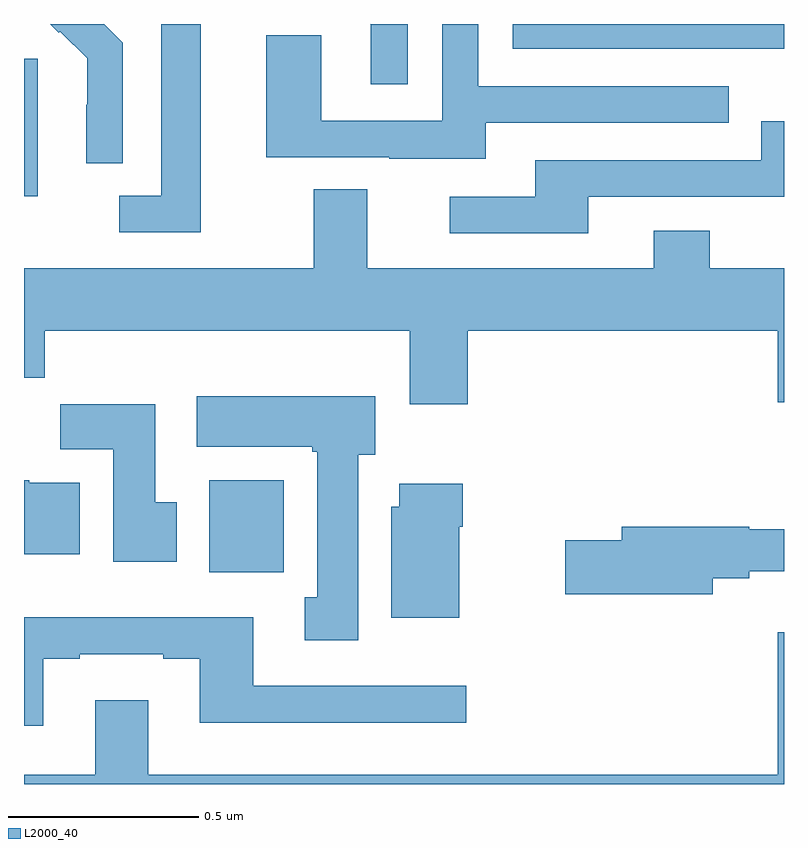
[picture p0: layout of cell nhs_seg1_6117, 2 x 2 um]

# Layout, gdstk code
import gdstk
lib = gdstk.Library(unit=1e-6, precision=1e-09)
def R(c, l, rs):  # rectangles x0, y0, x1, y1
    for r in rs: c.add(gdstk.rectangle(r[:2], r[2:], *l))
def P(c, l, *ps):  # polygons
    for p in ps: c.add(gdstk.Polygon(p, *l))
L2000_40 = (2000, 40)

nhs_seg1_6117 = lib.new_cell('nhs_seg1_6117')
R(nhs_seg1_6117, L2000_40, [(187.487,557.756,187.684,557.998), (187,558.746,187.036,559.107), (188.286,559.134,189,559.199)])
P(nhs_seg1_6117, L2000_40, [(188.215,558.939),(188.855,558.939),(188.855,559.035),(188.196,559.035),(188.196,559.199),(188.1,559.199),(188.1,558.945),(187.782,558.945),(187.782,559.169),(187.637,559.169),(187.637,558.849),(187.961,558.849),(187.961,558.845),(188.215,558.845)],
  [(187.465,559.199),(187.361,559.199),(187.361,558.747),(187.251,558.747),(187.251,558.651),(187.465,558.651)],
  [(188.01,559.199),(187.911,559.199),(187.913,559.197),(187.913,559.041),(188.01,559.041)],
  [(187.26,559.15),(187.211,559.199),(187.069,559.199),(187.092,559.176),(187.095,559.179),(187.166,559.109),(187.166,558.986),(187.164,558.986),(187.164,558.832),(187.26,558.832)],
  [(188.485,558.744),(189,558.744),(189,558.943),(188.94,558.943),(188.94,558.84),(188.345,558.84),(188.345,558.744),(188.121,558.744),(188.121,558.648),(188.485,558.648)],
  [(188.168,558.392),(188.984,558.392),(188.984,558.204),(189,558.204),(189,558.556),(188.805,558.556),(188.805,558.655),(188.657,558.655),(188.657,558.556),(187.903,558.556),(187.903,558.764),(187.763,558.764),(187.763,558.556),(187,558.556),(187,558.268),(187.055,558.268),(187.055,558.392),(188.015,558.392),(188.015,558.198),(188.168,558.198)],
  [(187.879,558.066),(187.924,558.066),(187.924,558.22),(187.455,558.22),(187.455,558.086),(187.759,558.086),(187.759,558.073),(187.772,558.073),(187.772,557.69),(187.739,557.69),(187.739,557.577),(187.879,557.577)],
  [(187.402,557.94),(187.345,557.94),(187.345,558.199),(187.096,558.199),(187.096,558.08),(187.235,558.08),(187.235,557.784),(187.402,557.784)],
  [(187.147,557.992),(187.014,557.992),(187.014,557.998),(187,557.998),(187,557.804),(187.147,557.804)],
  [(188.146,557.876),(188.154,557.876),(188.154,557.989),(187.988,557.989),(187.988,557.928),(187.967,557.928),(187.967,557.636),(188.146,557.636)],
  [(188.812,557.74),(188.908,557.74),(188.908,557.759),(189,557.759),(189,557.869),(188.908,557.869),(188.908,557.876),(188.573,557.876),(188.573,557.84),(188.424,557.84),(188.424,557.698),(188.812,557.698)],
  [(187.051,557.529),(187.147,557.529),(187.147,557.541),(187.367,557.541),(187.367,557.529),(187.463,557.529),(187.463,557.36),(188.164,557.36),(188.164,557.457),(187.603,557.457),(187.603,557.638),(187,557.638),(187,557.352),(187.051,557.352)],
  [(189,557.599),(188.984,557.599),(188.984,557.224),(187.327,557.224),(187.327,557.419),(187.187,557.419),(187.187,557.224),(187,557.224),(187,557.199),(189,557.199)])

lib.write_gds('nhs_seg1_6117.gds')
